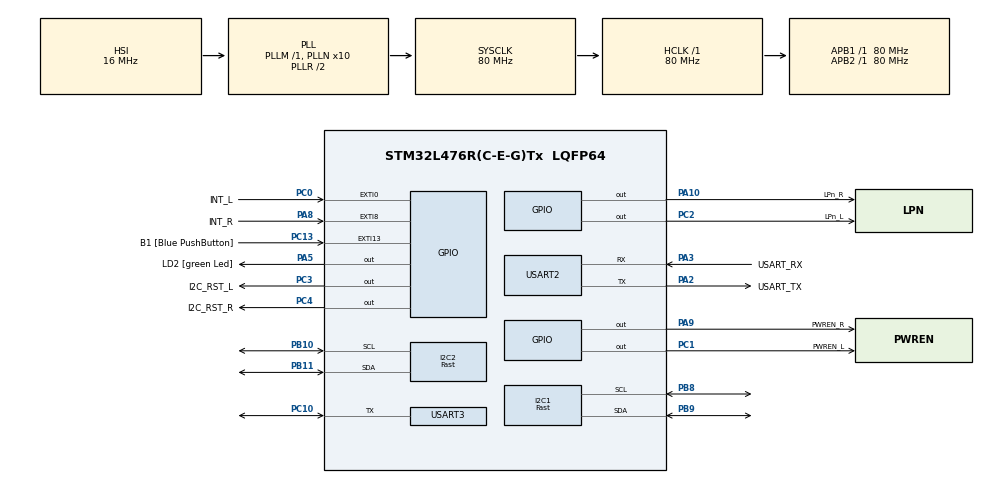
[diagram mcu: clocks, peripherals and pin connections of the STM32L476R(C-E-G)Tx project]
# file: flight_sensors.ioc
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I2C1.I2C_Speed_Mode=I2C_Fast
I2C1.Timing=0x00F12981
I2C2.I2C_Speed_Mode=I2C_Fast
I2C2.Timing=0x00F12981
Mcu.Family=STM32L4
Mcu.Name=STM32L476R(C-E-G)Tx
Mcu.Package=LQFP64
NVIC.EXTI0_IRQn=true\:0\:0\:false\:false\:true\:true\:true\:true
NVIC.EXTI15_10_IRQn=true\:0\:0\:false\:false\:true\:true\:true\:true
NVIC.EXTI9_5_IRQn=true\:0\:0\:false\:false\:true\:true\:true\:true
NVIC.PriorityGroup=NVIC_PRIORITYGROUP_4
PA10.GPIO_Label=LPn_R
PA10.Signal=GPIO_Output
PA13\ (JTMS-SWDIO).GPIO_Label=TMS
PA13\ (JTMS-SWDIO).Mode=Serial_Wire
PA13\ (JTMS-SWDIO).Signal=SYS_JTMS-SWDIO
PA14\ (JTCK-SWCLK).GPIO_Label=TCK
PA14\ (JTCK-SWCLK).Mode=Serial_Wire
PA14\ (JTCK-SWCLK).Signal=SYS_JTCK-SWCLK
PA2.GPIO_Label=USART_TX
PA2.GPIO_Mode=GPIO_MODE_AF_PP
PA2.GPIO_PuPd=GPIO_PULLUP
PA2.GPIO_Speed=GPIO_SPEED_FREQ_VERY_HIGH
PA2.Mode=Asynchronous
PA2.Signal=USART2_TX
PA3.GPIO_Label=USART_RX
PA3.GPIO_Mode=GPIO_MODE_AF_PP
PA3.GPIO_PuPd=GPIO_NOPULL
PA3.GPIO_Speed=GPIO_SPEED_FREQ_VERY_HIGH
PA3.Mode=Asynchronous
PA3.Signal=USART2_RX
PA5.GPIO_Label=LD2 [green Led]
PA5.GPIO_ModeDefaultOutputPP=GPIO_MODE_OUTPUT_PP
PA5.GPIO_PuPd=GPIO_NOPULL
PA5.GPIO_Speed=GPIO_SPEED_FREQ_LOW
PA5.Signal=GPIO_Output
PA8.GPIO_Label=INT_R
PA8.GPIO_ModeDefaultEXTI=GPIO_MODE_IT_FALLING
PA8.GPIO_PuPd=GPIO_PULLUP
PA8.Signal=GPXTI8
PA9.GPIO_Label=PWREN_R
PA9.Signal=GPIO_Output
PB10.GPIO_Pu=GPIO_PULLUP
PB10.Mode=I2C
PB10.Signal=I2C2_SCL
PB11.GPIO_Pu=GPIO_PULLUP
PB11.Mode=I2C
PB11.Signal=I2C2_SDA
PB3\ (JTDO-TRACESWO).GPIO_Label=SWO
PB3\ (JTDO-TRACESWO).Signal=SYS_JTDO-SWO
PB8.GPIO_FM6=SYSCFG_FASTMODEPLUS_PB6
PB8.GPIO_Pu=GPIO_NOPULL
PB8.Mode=I2C
PB8.Signal=I2C1_SCL
PB9.GPIO_FM7=SYSCFG_FASTMODEPLUS_PB7
PB9.GPIO_Pu=GPIO_NOPULL
PB9.Mode=I2C
PB9.Signal=I2C1_SDA
PC0.GPIO_Label=INT_L
PC0.GPIO_ModeDefaultEXTI=GPIO_MODE_IT_FALLING
PC0.GPIO_PuPd=GPIO_PULLUP
PC0.Signal=GPXTI0
PC1.GPIO_Label=PWREN_L
PC1.Signal=GPIO_Output
PC10.Mode=Half_duplex(single_wire_mode)
PC10.Signal=USART3_TX
PC13.GPIO_Label=B1 [Blue PushButton]
PC13.GPIO_ModeDefaultEXTI=GPIO_MODE_IT_FALLING
PC13.GPIO_PuPd=GPIO_NOPULL
PC13.Signal=GPXTI13
PC14-OSC32_IN\ (PC14).Mode=LSE-External-Oscillator
PC14-OSC32_IN\ (PC14).Signal=RCC_OSC32_IN
PC15-OSC32_OUT\ (PC15).Mode=LSE-External-Oscillator
PC15-OSC32_OUT\ (PC15).Signal=RCC_OSC32_OUT
PC2.GPIO_Label=LPn_L
PC2.Signal=GPIO_Output
PC3.GPIO_Label=I2C_RST_L
PC3.Signal=GPIO_Output
PC4.GPIO_Label=I2C_RST_R
PC4.Signal=GPIO_Output
PH0-OSC_IN\ (PH0).Signal=RCC_OSC_IN
PH1-OSC_OUT\ (PH1).Signal=RCC_OSC_OUT
ProjectManager.HeapSize=0x200
ProjectManager.StackSize=0x400
ProjectManager.TargetToolchain=CMake
RCC.ADCFreq_Value=64000000
RCC.AHBFreq_Value=80000000
RCC.APB1Freq_Value=80000000
RCC.APB1TimFreq_Value=80000000
RCC.APB2Freq_Value=80000000
RCC.APB2TimFreq_Value=80000000
RCC.CortexFreq_Value=80000000
RCC.HCLKFreq_Value=80000000
RCC.HSE_VALUE=8000000
RCC.HSI_VALUE=16000000
RCC.MSI_VALUE=4000000
RCC.PLLN=10
RCC.PLLSourceVirtual=RCC_PLLSOURCE_HSI
RCC.PREFETCH_ENABLE=1
RCC.SYSCLKFreq_VALUE=80000000
RCC.SYSCLKSource=RCC_SYSCLKSOURCE_PLLCLK
RCC.USBFreq_Value=64000000
RCC.VCOOutputFreq_Value=160000000
USART2.VirtualMode-Asynchronous=VM_ASYNC
USART3.VirtualMode-Half_duplex(single_wire_mode)=VM_ASYNC
board=NUCLEO-L476RG

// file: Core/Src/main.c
/* USER CODE BEGIN Header */
/**
  ******************************************************************************
  * @file           : main.c
  * @brief          : Main program body
  ******************************************************************************
  * @attention
  *
  * Copyright (c) 2026 STMicroelectronics.
  * All rights reserved.
  *
  * This software is licensed under terms that can be found in the LICENSE file
  * in the root directory of this software component.
  * If no LICENSE file comes with this software, it is provided AS-IS.
  *
  ******************************************************************************
  */
/* USER CODE END Header */
#include "main.h"
#include "i2c.h"
#include "usart.h"
#include "gpio.h"

/* USER CODE BEGIN Includes */
#include "vl53l7cx_api.h"
#include <stdio.h>
#include <math.h>

__attribute__((naked)) void _printf_float_support(void) {}
/* USER CODE END Includes */

/* USER CODE BEGIN PV */
VL53L7CX_Configuration sensor_a;
VL53L7CX_Configuration sensor_b;
VL53L7CX_ResultsData   results_a;
VL53L7CX_ResultsData   results_b;
/* USER CODE END PV */

void SystemClock_Config(void);

/* USER CODE BEGIN 0 */
void I2C_Scan(I2C_HandleTypeDef *hi2c, const char *label) {
    printf("Scanning %s...\r\n", label);
    int found = 0;
    for (uint16_t addr = 1; addr < 128; addr++) {
        HAL_StatusTypeDef result = HAL_I2C_IsDeviceReady(hi2c, addr << 1, 5, 100);
        if (result == HAL_OK) {
            printf("Found at 0x%02X (8-bit: 0x%02X)\r\n", (unsigned)addr, (unsigned)(addr << 1));
            found++;
        }
    }
    if (!found) printf("No devices found on %s\r\n", label);
    printf("Scan complete.\r\n");
}
void I2C_Recover(void) {

    // ---- I2C2 recovery (sensor A — PB10=SCL, PB11=SDA) ----
    HAL_I2C_DeInit(&hi2c2);

    GPIO_InitTypeDef GPIO_InitStruct = {0};
    __HAL_RCC_GPIOB_CLK_ENABLE();

    // Hold sensor A in reset so it doesn't fight the bus
    HAL_GPIO_WritePin(I2C_RST_L_GPIO_Port, I2C_RST_L_Pin, GPIO_PIN_RESET);

    GPIO_InitStruct.Pin = GPIO_PIN_8 | GPIO_PIN_9;
    GPIO_InitStruct.Mode = GPIO_MODE_OUTPUT_OD;
    GPIO_InitStruct.Pull = GPIO_NOPULL;
    GPIO_InitStruct.Speed = GPIO_SPEED_FREQ_LOW;
    HAL_GPIO_Init(GPIOB, &GPIO_InitStruct);

    // Release both lines high
    HAL_GPIO_WritePin(GPIOB, GPIO_PIN_10 | GPIO_PIN_11, GPIO_PIN_SET);
    HAL_Delay(10);

    // Clock out 9 pulses to release any stuck slave
    for (int i = 0; i < 9; i++) {
        HAL_GPIO_WritePin(GPIOB, GPIO_PIN_8, GPIO_PIN_RESET);
        HAL_Delay(1);
        HAL_GPIO_WritePin(GPIOB, GPIO_PIN_8, GPIO_PIN_SET);
        HAL_Delay(1);
    }
    // Generate STOP condition — SDA low then high while SCL high
    HAL_GPIO_WritePin(GPIOB, GPIO_PIN_9, GPIO_PIN_RESET);
    HAL_Delay(1);
    HAL_GPIO_WritePin(GPIOB, GPIO_PIN_9, GPIO_PIN_SET);
    HAL_Delay(10);

    MX_I2C2_Init();
    HAL_Delay(100);

    // ---- I2C1 recovery (sensor B — PB6=SCL, PB7=SDA) ----
    HAL_I2C_DeInit(&hi2c1);

    // Hold sensor B in reset
    HAL_GPIO_WritePin(I2C_RST_R_GPIO_Port, I2C_RST_R_Pin, GPIO_PIN_RESET);

    GPIO_InitStruct.Pin = GPIO_PIN_6 | GPIO_PIN_7;
    GPIO_InitStruct.Mode = GPIO_MODE_OUTPUT_OD;
    GPIO_InitStruct.Pull = GPIO_NOPULL;
    GPIO_InitStruct.Speed = GPIO_SPEED_FREQ_LOW;
    HAL_GPIO_Init(GPIOB, &GPIO_InitStruct);

    HAL_GPIO_WritePin(GPIOB, GPIO_PIN_6 | GPIO_PIN_7, GPIO_PIN_SET);
    HAL_Delay(10);

    for (int i = 0; i < 9; i++) {
        HAL_GPIO_WritePin(GPIOB, GPIO_PIN_6, GPIO_PIN_RESET);
        HAL_Delay(1);
        HAL_GPIO_WritePin(GPIOB, GPIO_PIN_6, GPIO_PIN_SET);
        HAL_Delay(1);
    }
    // Generate STOP condition
    HAL_GPIO_WritePin(GPIOB, GPIO_PIN_7, GPIO_PIN_RESET);
    HAL_Delay(1);
    HAL_GPIO_WritePin(GPIOB, GPIO_PIN_7, GPIO_PIN_SET);
    HAL_Delay(10);

    MX_I2C1_Init();
    HAL_Delay(100);

    // Release both sensors from reset after bus is clean
    HAL_GPIO_WritePin(I2C_RST_L_GPIO_Port, I2C_RST_L_Pin, GPIO_PIN_SET);
    HAL_GPIO_WritePin(I2C_RST_R_GPIO_Port, I2C_RST_R_Pin, GPIO_PIN_SET);
    HAL_Delay(10);
}
/* USER CODE END 0 */

int main(void)
{

  /* MCU Configuration--------------------------------------------------------*/

  /* Reset of all peripherals, Initializes the Flash interface and the Systick. */
  HAL_Init();

  /* Configure the system clock */
  SystemClock_Config();

  /* Initialize all configured peripherals */
  MX_GPIO_Init();

  MX_USART2_UART_Init();

  MX_USART3_UART_Init();

   /* USER CODE BEGIN 2 */

HAL_GPIO_WritePin(PWREN_L_GPIO_Port,   PWREN_L_Pin,   GPIO_PIN_SET);
HAL_GPIO_WritePin(I2C_RST_L_GPIO_Port, I2C_RST_L_Pin, GPIO_PIN_SET);  // hold in reset
HAL_GPIO_WritePin(LPn_L_GPIO_Port,     LPn_L_Pin,     GPIO_PIN_RESET);
HAL_Delay(100);
HAL_GPIO_WritePin(I2C_RST_L_GPIO_Port, I2C_RST_L_Pin, GPIO_PIN_RESET); // release reset
HAL_GPIO_WritePin(LPn_L_GPIO_Port,     LPn_L_Pin,     GPIO_PIN_SET);
HAL_Delay(2000);

// Sensor A only
sensor_a.platform.address  = 0x52;
sensor_a.platform.hi2c     = &hi2c2;
sensor_a.platform.lpn_port = LPn_L_GPIO_Port;
sensor_a.platform.lpn_pin  = LPn_L_Pin;
MX_I2C2_Init();
uint8_t is_alive = 0;
vl53l7cx_is_alive(&sensor_a, &is_alive);
printf("alive=%d\r\n", is_alive);

printf("Init A...\r\n");
uint8_t status = vl53l7cx_init(&sensor_a);
printf("status=%d\r\n", status);

if (status == VL53L7CX_STATUS_OK) {

    vl53l7cx_set_resolution(&sensor_a, VL53L7CX_RESOLUTION_4X4);
    vl53l7cx_set_ranging_frequency_hz(&sensor_a, 10);
    vl53l7cx_start_ranging(&sensor_a);
    printf("A ranging\r\n");
}
// Bring sensor B up
HAL_GPIO_WritePin(PWREN_R_GPIO_Port,   PWREN_R_Pin,   GPIO_PIN_SET);
HAL_GPIO_WritePin(I2C_RST_R_GPIO_Port, I2C_RST_R_Pin, GPIO_PIN_SET);  // hold in reset
HAL_GPIO_WritePin(LPn_R_GPIO_Port,     LPn_R_Pin,     GPIO_PIN_RESET);
HAL_Delay(100);
HAL_GPIO_WritePin(I2C_RST_R_GPIO_Port, I2C_RST_R_Pin, GPIO_PIN_RESET); // release reset
HAL_GPIO_WritePin(LPn_R_GPIO_Port,     LPn_R_Pin,     GPIO_PIN_SET);
HAL_Delay(2000);

sensor_b.platform.address  = 0x52;
sensor_b.platform.hi2c     = &hi2c1;
sensor_b.platform.lpn_port = LPn_R_GPIO_Port;
sensor_b.platform.lpn_pin  = LPn_R_Pin;
MX_I2C1_Init();
printf("I2C1 state: %d\r\n", hi2c1.State);
printf("I2C1 error: %lu\r\n", hi2c1.ErrorCode);
I2C_Scan(&hi2c1, "I2C1");
uint8_t is_alive_b = 0;
status = vl53l7cx_is_alive(&sensor_b, &is_alive_b);
printf("Sensor B alive: status=%d alive=%d\r\n", status, is_alive_b);

printf("Initializing sensor B...\r\n");
status = vl53l7cx_init(&sensor_b);
printf("Sensor B init status: %d\r\n", status);

if (status == VL53L7CX_STATUS_OK) {
    printf("Sensor B OK\r\n");
    vl53l7cx_set_resolution(&sensor_b, VL53L7CX_RESOLUTION_4X4);
    vl53l7cx_set_ranging_frequency_hz(&sensor_b, 10);
    vl53l7cx_start_ranging(&sensor_b);
} else {
    printf("Sensor B failed!\r\n");
}

/* USER CODE END 2 */

  /* Infinite loop */
  /* USER CODE BEGIN WHILE */
  float d = 490.0f;
  float two_d = 2.0f * d;
  float d_squared = d * d;
  float x, y;
  float cos_A, sin_A;
  uint8_t buf[10];
  while (1)
{
    /* USER CODE END WHILE */

    /* USER CODE BEGIN 3 */

uint8_t ready_a = 0;
uint8_t ready_b = 0;
while (!ready_a) {
    vl53l7cx_check_data_ready(&sensor_a, &ready_a);
    HAL_Delay(5);
}
vl53l7cx_get_ranging_data(&sensor_a, &results_a);
printf("A");
for (int i = 0; i < 16; i++) printf(",%d", (int)results_a.distance_mm[i]);
for (int i = 0; i < 16; i++) printf(",%u", (unsigned)results_a.target_status[i]);
printf("\r\n");
int a_target = 0;
int cnt = 0;
int valid_targets[16];
for (int i = 8; i < 11; i++) {
      if (results_a.distance_mm[i] > 200 && results_a.distance_mm[i] <= 550) {

            valid_targets[cnt++] = results_a.distance_mm[i];

      }
    }
int total = 0;
for (int i = 0; i < cnt; i++) total += valid_targets[i];
a_target = (cnt > 0) ? total / cnt : 0;
printf("A target: %d\r\n", a_target);

while (!ready_b) {
    vl53l7cx_check_data_ready(&sensor_b, &ready_b);
    HAL_Delay(5);
}
vl53l7cx_get_ranging_data(&sensor_b, &results_b);
printf("B");
for (int i = 0; i < 16; i++) printf(",%d", (int)results_b.distance_mm[i]);
for (int i = 0; i < 16; i++) printf(",%u", (unsigned)results_b.target_status[i]);
printf("\r\n");
int b_target = 0;
cnt = 0;
for (int i = 8; i < 11; i++) {
      if (results_b.distance_mm[i] > 200 && results_b.distance_mm[i] <= 550) {

            valid_targets[cnt++] = results_b.distance_mm[i];
      }
    }
total = 0;
for (int i = 0; i < cnt; i++) total += valid_targets[i];
b_target = (cnt > 0) ? total / cnt : 0;
// printf("B target: %d\r\n", b_target);

// printf("debug: a=%d b=%d\r\n", a_target, b_target);

cos_A = (float)(d_squared + a_target*a_target - b_target*b_target) / (float)(two_d * a_target);
// printf("debug cosA=%.4f sinA=%.4f\r\n", cos_A, sin_A);

sin_A = sqrtf(1.0f - cos_A * cos_A);

x = a_target * cos_A;
y = a_target * sin_A;

//Temporary integer debug to confirm values are correct
int cos_scaled = (int)(cos_A * 10000);
int sin_scaled = (int)(sin_A * 10000);
int x_scaled = (int)x;
int y_scaled = (int)y;
// printf("debug: cosA=%d sinA=%d x=%d y=%d\r\n",
//        cos_scaled, sin_scaled, x_scaled, y_scaled);

buf[0] = 0xAA;              // start marker
memcpy(&buf[1], &x, 4);    // 4 bytes of float x
memcpy(&buf[5], &y, 4);    // 4 bytes of float y
buf[9] = 0xFF;              // end marker

HAL_UART_Transmit(&huart3, buf, 10, HAL_MAX_DELAY);

  // uint8_t buf[10];
  // HAL_UART_Receive(&huart1, buf, 10, HAL_MAX_DELAY);

  // if (buf[0] == 0xAA && buf[9] == 0xFF) {
  //     float x, y;
  //     memcpy(&x, &buf[1], 4);
  //     memcpy(&y, &buf[5], 4);
  // }
HAL_Delay(100);
  /* USER CODE END 3 */
}
}
void SystemClock_Config(void)
{
  RCC_OscInitTypeDef RCC_OscInitStruct = {0};
  RCC_ClkInitTypeDef RCC_ClkInitStruct = {0};

  /** Configure the main internal regulator output voltage
  */
  if (HAL_PWREx_ControlVoltageScaling(PWR_REGULATOR_VOLTAGE_SCALE1) != HAL_OK)
  {
    Error_Handler();
  }

  /** Initializes the RCC Oscillators according to the specified parameters
  * in the RCC_OscInitTypeDef structure.
  */
  RCC_OscInitStruct.OscillatorType = RCC_OSCILLATORTYPE_HSI;
  RCC_OscInitStruct.HSIState = RCC_HSI_ON;
  RCC_OscInitStruct.HSICalibrationValue = RCC_HSICALIBRATION_DEFAULT;
  RCC_OscInitStruct.PLL.PLLState = RCC_PLL_ON;
  RCC_OscInitStruct.PLL.PLLSource = RCC_PLLSOURCE_HSI;
  RCC_OscInitStruct.PLL.PLLM = 1;
  RCC_OscInitStruct.PLL.PLLN = 10;
  RCC_OscInitStruct.PLL.PLLP = RCC_PLLP_DIV7;
  RCC_OscInitStruct.PLL.PLLQ = RCC_PLLQ_DIV2;
  RCC_OscInitStruct.PLL.PLLR = RCC_PLLR_DIV2;
  if (HAL_RCC_OscConfig(&RCC_OscInitStruct) != HAL_OK)
  {
    Error_Handler();
  }

  /** Initializes the CPU, AHB and APB buses clocks
  */
  RCC_ClkInitStruct.ClockType = RCC_CLOCKTYPE_HCLK|RCC_CLOCKTYPE_SYSCLK
                              |RCC_CLOCKTYPE_PCLK1|RCC_CLOCKTYPE_PCLK2;
  RCC_ClkInitStruct.SYSCLKSource = RCC_SYSCLKSOURCE_PLLCLK;
  RCC_ClkInitStruct.AHBCLKDivider = RCC_SYSCLK_DIV1;
  RCC_ClkInitStruct.APB1CLKDivider = RCC_HCLK_DIV1;
  RCC_ClkInitStruct.APB2CLKDivider = RCC_HCLK_DIV1;

  if (HAL_RCC_ClockConfig(&RCC_ClkInitStruct, FLASH_LATENCY_4) != HAL_OK)
  {
    Error_Handler();
  }
}

/* USER CODE BEGIN 4 */
int __io_putchar(int ch) {
    HAL_UART_Transmit(&huart2, (uint8_t *)&ch, 1, HAL_MAX_DELAY);
    return ch;
}

/* USER CODE END 4 */

void Error_Handler(void)
{
  __disable_irq();
  while (1)
  {
  }
}
